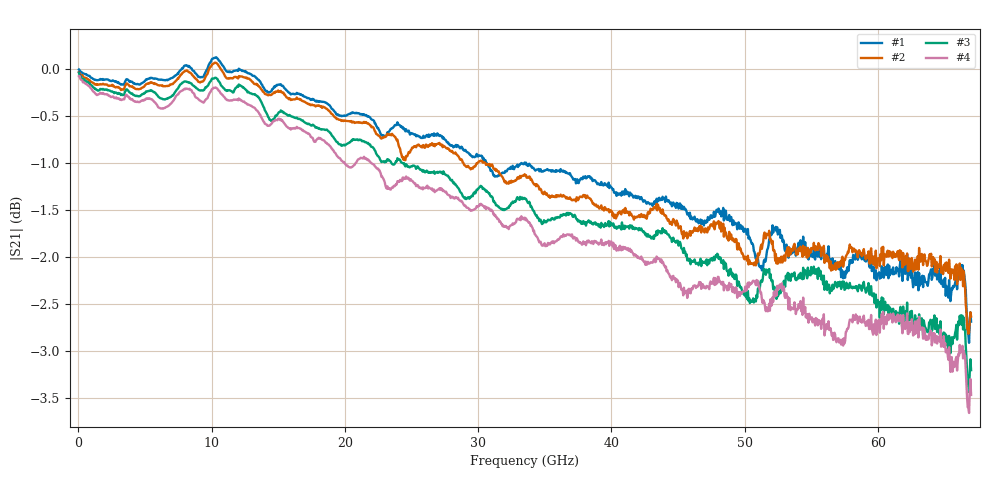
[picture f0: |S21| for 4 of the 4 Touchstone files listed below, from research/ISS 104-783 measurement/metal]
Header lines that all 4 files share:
#  HZ  S  MA  R  50.00
! Rohde & Schwarz ZVA67 4Ports - Version 4.11 - 1305.7002k04 SN: 101051
! Measurements: S11 S21 S12 S22
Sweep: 50 MHz to 67 GHz
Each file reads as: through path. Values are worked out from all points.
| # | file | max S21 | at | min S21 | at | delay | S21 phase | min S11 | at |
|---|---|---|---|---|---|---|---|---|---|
| 1 | Line_A1_DC_to_67_GHz.s2p | 0.12 dB | 10.35 GHz | -2.9 dB | 66.85 GHz | 375 ps | 149 deg at 33.55 GHz | -52.2 dB | 38.4 GHz |
| 2 | Line_A2_DC_to_67_GHz.s2p | 0.07 dB | 10.3 GHz | -2.8 dB | 66.8 GHz | 378 ps | 107 deg at 33.55 GHz | -48.6 dB | 3.8 GHz |
| 3 | Line_A4_DC_to_67_GHz.s2p | -0.04 dB | 50 MHz | -3.4 dB | 66.85 GHz | 398 ps | -130 deg at 33.55 GHz | -43.3 dB | 850 MHz |
| 4 | Line_A5_DC_to_67_GHz.s2p | -0.08 dB | 50 MHz | -3.7 dB | 66.85 GHz | 411 ps | 69 deg at 33.55 GHz | -52.0 dB | 850 MHz |
